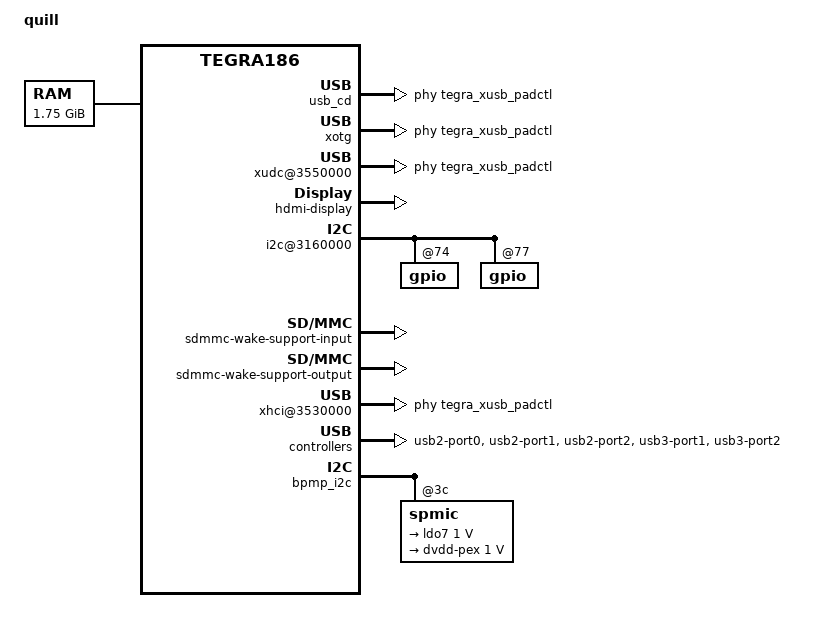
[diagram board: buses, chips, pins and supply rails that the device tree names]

/*tegra186-tx2-cti-base.dts*/
/*Base dtb common to all CTI boards, board specific changes should be made in board specific files that */
/*include this file, it is based on tegra186-quill-p3310-1000-c03-00-base.dts merged with tegra186-quill-p3310-1000-a00-00-base.dts*/

/***** Merged from "tegra186-quill-p3310-1000-a00-00-base.dts"****/
#include <t18x-common-platforms/tegra186-quill-common-p3310-1000-a00.dtsi>
#include <t18x-common-platforms/tegra186-quill-power-tree-p3310-1000-a00-00.dtsi>
//#include <t18x-common-platforms/tegra186-quill-camera-modules.dtsi>
#include <t18x-common-modules/tegra186-display-tx2-cti-base.dtsi>

/* comms dtsi file should be included after gpio dtsi file */
#include <t18x-common-platforms/tegra186-quill-comms.dtsi>
//#include <t18x-common-plugin-manager/tegra186-quill-p3310-1000-a00-plugin-manager.dtsi>
#include <t18x-common-plugin-manager/tegra186-tx2-cti-plugin-manager.dtsi>
//#include <t18x-common-modules/tegra186-super-module-e2614-p2597-1000-a00.dtsi>
#include <t18x-common-plugin-manager/tegra186-quill-display-plugin-manager.dtsi>
#include <t18x-common-prod/tegra186-priv-quill-p3310-1000-a00-prod.dtsi>
//#include <t18x-common-plugin-manager/tegra186-quill-camera-plugin-manager.dtsi>

#include <dt-bindings/linux/driver-info.h>

/**************************************************************/

/{

    
    nvidia,boardids = "3310:0000:C03";
    nvidia,proc-boardid = "3310:0000:C03";

/***** Merged from "tegra186-quill-p3310-1000-a00-00-base.dts"****/
    model = "quill";
    compatible = "nvidia,quill", "nvidia,tegra186";


    chosen {
        board-has-eeprom;
        bootargs ="console=ttyS0,115200";
        stdout-path = &uarta;
    };

    firmware {
        android {
            compatible = "android,firmware";
            hardware = "quill";
        };
    };

    memory@80000000 {
        device_type = "memory";
        reg = <0x0 0x80000000 0x0 0x70000000>;
    };

    usb_cd {
        status = "okay";
        phys = <&tegra_xusb_padctl TEGRA_PADCTL_PHY_UTMI_P(0)>;
        phy-names = "otg-phy";
    };

    xotg {
        status = "okay";
        phys = <&tegra_xusb_padctl TEGRA_PADCTL_PHY_UTMI_P(0)>;
        phy-names = "otg-usb2";
    };

    xudc@3550000 {
        status = "okay";
        phys = <&tegra_xusb_padctl TEGRA_PADCTL_PHY_UTMI_P(0)>;
        phy-names = "usb2";
        emc-frequency = <150000000>;
    };

    i2c@c240000 {
        clock-frequency = <400000>;
    };

    cpus {
        status = "disabled";
    };

    can_clock: can_clock{
        compatible = "fixed-clock";
        #clock-cells = <0>;
        clock-frequency = <20000000>;
        clock-accuracy = <100>;
    };


    host1x {
        sor {
            status = "disabled";
            dp-display {
                status = "disabled";
            };
            hdmi-display {
                status = "disabled";
            };

            panel-s-edp-uhdtv-15-6 {
                smartdimmer {
                    status = "disabled";
                };
            };
        };

        dpaux@155c0000 {
            status = "disabled";
        };

        sor1 {
            status = "okay";
            hdmi-display {
                status = "okay";
            };
            dp-display {
                status = "disabled";
            };
        };

        nvdisplay@15200000 {
            status = "disabled";
        };

        nvdisplay@15220000 {
            status = "disabled";
        };
    };
        //TODO Disable these??
        mttcan@c310000 {
                status = "disabled";    
                gpio_can_stb = <&tegra_aon_gpio TEGRA_AON_GPIO(AA, 0) GPIO_ACTIVE_HIGH>;
                gpio_can_en = <&tegra_aon_gpio TEGRA_AON_GPIO(AA, 1) GPIO_ACTIVE_HIGH>;
                mram-params = <0 16 16 8 8 8 16 16 16>;
                tx-config = <8 8 0 64>;
                rx-config = <64 64 64>;
        };

        mttcan@c320000 {
                status = "disabled";
                gpio_can_stb = <&tegra_aon_gpio TEGRA_AON_GPIO(AA, 6) GPIO_ACTIVE_HIGH>;
                gpio_can_en = <&tegra_aon_gpio TEGRA_AON_GPIO(AA, 7) GPIO_ACTIVE_HIGH>;
                mram-params = <0 16 16 8 8 8 16 16 16>;
                tx-config = <8 8 0 64>;
                rx-config = <64 64 64>;
        };


/**************************************************************/
	pinmux@2430000 {
		common {
			gpio_edp2_pp5 {
				status = "okay";
			};

			gpio_edp3_pp6 {
				status = "okay";
			};
		};
	};

/*These are not on our boards so delete them to remove the errors*/
    i2c@3160000 {
        /delete-node/ ina3221x@42;
        /delete-node/ ina3221x@43;


        gpio@74 {
            /delete-node/ touch-rails;
        };
        gpio@77 {
            /delete-node/ lcd-bias-rails;
        };

    };

	gpio@2200000 {
		sdmmc-wake-support-input {
			status = "okay";
		};

		sdmmc-wake-support-output {
			status = "okay";
		};
	};

	fixed-regulators {
		regulator@1 {
			gpio = <&tegra_main_gpio TEGRA_MAIN_GPIO(P, 6) 0>;
                };
	};

	sdhci@3400000 {
		cd-gpios = <&tegra_main_gpio TEGRA_MAIN_GPIO(P, 5) 0>;
		nvidia,cd-wakeup-capable;
	};

	ahci-sata@3507000 {
		gpios = <&spmic 7 0>;
	};
    /*Set the correct lanes and enable the correct PHYs in the board specific files that include this file*/
	pcie-controller@10003000 {
		pci@1,0 {
			nvidia,num-lanes = <4>;
			nvidia,disable-clock-request;
            status = "disabled";
		};
		pci@2,0 {
			nvidia,num-lanes = <0>;
            status="disabled";
		};
		pci@3,0 {
			nvidia,num-lanes = <1>;
            status="disabled";
		};
	};

    /*Remove Uneeded PHYS in the board specific files that include this file */
    xhci@3530000 {
        status = "okay";
        phys = <&tegra_xusb_padctl TEGRA_PADCTL_PHY_UTMI_P(0)>,
               <&tegra_xusb_padctl TEGRA_PADCTL_PHY_UTMI_P(1)>,
               <&tegra_xusb_padctl TEGRA_PADCTL_PHY_UTMI_P(2)>,
               <&tegra_xusb_padctl TEGRA_PADCTL_PHY_USB3_P(0)>,
               <&tegra_xusb_padctl TEGRA_PADCTL_PHY_USB3_P(1)>,
               <&tegra_xusb_padctl TEGRA_PADCTL_PHY_USB3_P(2)>;
        phy-names = "utmi-0", "utmi-1", "utmi-2", "usb3-0", "usb3-1", "usb3-2";
    };

	pinctrl@3520000 {
        /*CTI set this to the always on regulator, we do not have the normal reg on our boards*/
        vbus-2-supply = <&battery_reg>;

        /*Enabled correct phys in the board specific file that includes this file*/
        status = "okay";
        pinctrl-0 = <&tegra_xusb_padctl_pinmux_default>;
        pinctrl-names = "default";
        tegra_xusb_padctl_pinmux_default: pinmux {

            usb2-port0 {
                nvidia,lanes = "otg-0";
                nvidia,function = "xusb";
                nvidia,port-cap = <TEGRA_PADCTL_PORT_OTG_CAP>;
                nvidia,oc-pin = <0>;
                status = "okay";
            };
            usb2-port1 {
                nvidia,lanes = "otg-1";
                nvidia,function = "xusb";
                nvidia,port-cap = <TEGRA_PADCTL_PORT_HOST_ONLY>;
                nvidia,oc-pin = <1>;
                status = "okay";
            };
            usb2-port2 {
                nvidia,lanes = "otg-2";
                nvidia,function = "xusb";
                nvidia,port-cap = <TEGRA_PADCTL_PORT_HOST_ONLY>;
                status = "okay";
            };
            usb3-port0 {
                nvidia,lanes = "usb3-0";
                nvidia,port-cap = <TEGRA_PADCTL_PORT_HOST_ONLY>;
                status = "disabled";
            };
            usb3-port1 {
                nvidia,lanes = "usb3-1";
                nvidia,port-cap = <TEGRA_PADCTL_PORT_HOST_ONLY>;
                status = "okay";
            };
            usb3-port2 {
                nvidia,lanes = "usb3-2";
                nvidia,port-cap = <TEGRA_PADCTL_PORT_HOST_ONLY>;
                status = "okay";
            };
        };

	};

    bluedroid_pm {
		bluedroid_pm,reset-gpio = <&tegra_main_gpio TEGRA_MAIN_GPIO(H, 5) 0>;
        };

	bpmp_i2c {
		spmic@3c {
			pinmux@0 {
				pin_gpio2 {
					status = "disabled";
				};
				pin_gpio3 {
					status = "disabled";
				};
				pin_gpio7 {
					drive-push-pull = <1>;
				};
			};

			regulators {
        /*        
                sd2 {
                    //we cant rely on the bootloader to turn this on
                    /delete-property/ regulator-boot-on;
                };
                
                sd3 {
                    //we cant rely on the bootloader to turn this on
                    /delete-property/ regulator-boot-on;
                };
*/                
				ldo0 {
					maxim,active-fps-source = <MAX77620_FPS_SRC_NONE>;
				};

				ldo6 {
					maxim,active-fps-source = <MAX77620_FPS_SRC_NONE>;
					regulator-boot-on;
					regulator-always-on;
				};

				ldo7 {
					regulator-min-microvolt = <1000000>;
					regulator-max-microvolt = <1000000>;
				};

				ldo8 {
					regulator-name = "dvdd-pex";
					regulator-min-microvolt = <1000000>;
					regulator-max-microvolt = <1000000>;
				};
			};
		};
	};
/*We don't use the GPIO expanders for these regulators so remove the gpio proerties*/
     fixed-regulators {

        regulator@2 {
            regulator-always-on;
            /delete-property/ gpio;
            /delete-property/ enable-active-high;
        };
        regulator@3 {
            regulator-always-on;
            /delete-property/ gpio;
        };
        regulator@6 {
            regulator-always-on;
            /delete-property/ gpio;
        };
        regulator@7 {
            regulator-always-on;
            /delete-property/ gpio;
        };
        regulator@8 {
            regulator-always-on;
            /delete-property/ gpio;
        };
        regulator@9 {
            regulator-always-on;
            /delete-property/ gpio;
        };
        regulator@10 {
            regulator-always-on;
            /delete-property/ gpio;
        };
        regulator@11 {
            regulator-always-on;
            /delete-property/ gpio;
        };
        regulator@12 {
            regulator-always-on;
            /delete-property/ gpio;
        };
        regulator@13 { //fixes PWM fan
            regulator-always-on;
            /delete-property/ gpio;
        };
        regulator@15 {
            regulator-always-on;
            /delete-property/ gpio;
        };
        regulator@17 {
            regulator-always-on;
            /delete-property/ gpio;
        };
        regulator@118 {
            regulator-always-on;
            /delete-property/ gpio;
        };
    };

};

#ifdef KERNEL_VERSION_4_9
#include "quill-platforms/tegra186-quill-kernel-4.9.dtsi"
#endif

